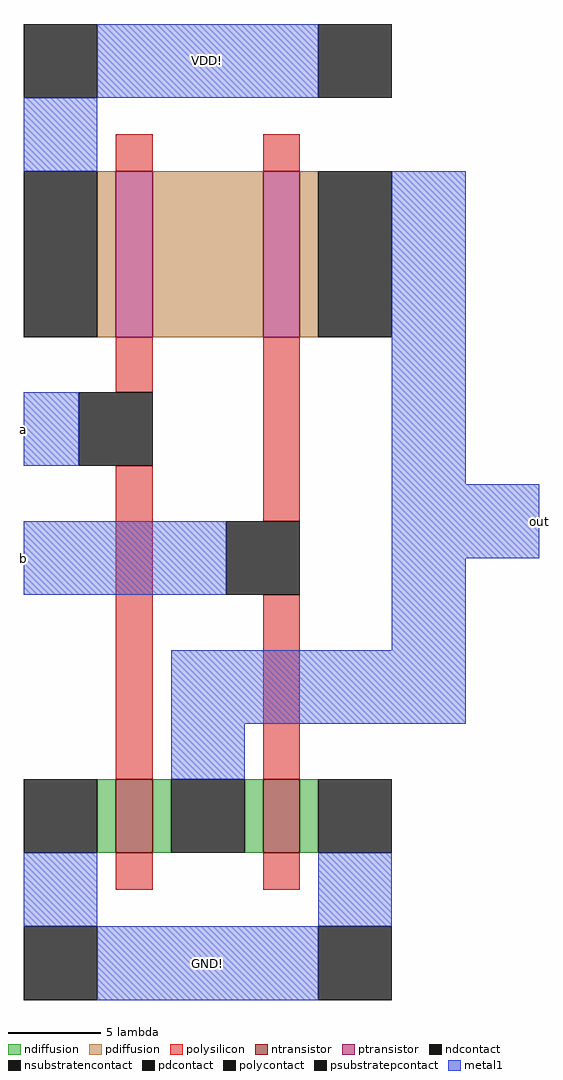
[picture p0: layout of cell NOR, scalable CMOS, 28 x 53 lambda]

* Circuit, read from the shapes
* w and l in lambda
.subckt NOR GND! VDD! a b out
M1 out a GND! GND! nfet w=4 l=2
M2 GND! b out GND! nfet w=4 l=2
M3 n1 a VDD! VDD! pfet w=9 l=2
M4 out b n1 VDD! pfet w=9 l=2
.ends

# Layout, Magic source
magic
tech scmos
<< ntransistor >>
rect 3 -14 5 -10
rect 11 -14 13 -10
<< ptransistor >>
rect 3 14 5 23
rect 11 14 13 23
<< ndiffusion >>
rect 2 -14 3 -10
rect 5 -14 6 -10
rect 10 -14 11 -10
rect 13 -14 14 -10
<< pdiffusion >>
rect 2 14 3 23
rect 5 14 11 23
rect 13 14 14 23
<< ndcontact >>
rect -2 -14 2 -10
rect 6 -14 10 -10
rect 14 -14 18 -10
<< pdcontact >>
rect -2 14 2 23
rect 14 14 18 23
<< psubstratepcontact >>
rect -2 -22 2 -18
rect 14 -22 18 -18
<< nsubstratencontact >>
rect -2 27 2 31
rect 14 27 18 31
<< polysilicon >>
rect 3 23 5 25
rect 11 23 13 25
rect 3 11 5 14
rect 3 -10 5 7
rect 11 4 13 14
rect 11 -10 13 0
rect 3 -16 5 -14
rect 11 -16 13 -14
<< polycontact >>
rect 1 7 5 11
rect 9 0 13 4
<< metal1 >>
rect 2 27 14 31
rect -2 23 2 27
rect -2 7 1 11
rect 18 6 22 23
rect -2 0 9 4
rect 18 2 26 6
rect 18 -3 22 2
rect 6 -7 22 -3
rect 6 -10 10 -7
rect -2 -18 2 -14
rect 14 -18 18 -14
rect 2 -22 14 -18
<< labels >>
rlabel metal1 -2 7 -2 11 3 a
rlabel metal1 -2 0 -2 4 3 b
rlabel metal1 8 29 8 29 5 VDD!
rlabel metal1 8 -20 8 -20 1 GND!
rlabel metal1 26 2 26 6 7 out
<< end >>
